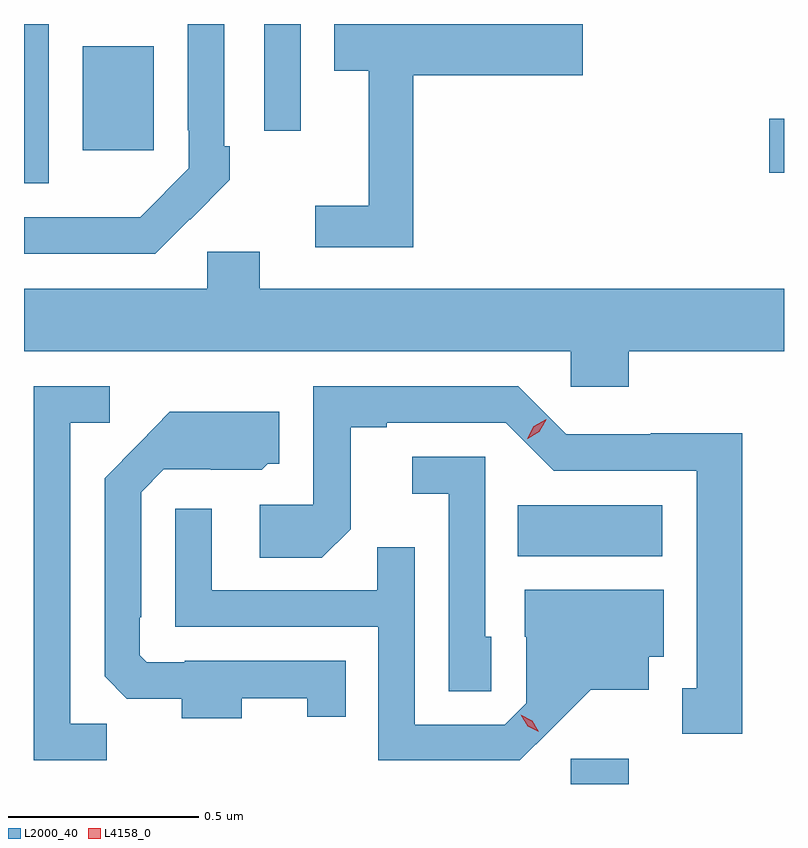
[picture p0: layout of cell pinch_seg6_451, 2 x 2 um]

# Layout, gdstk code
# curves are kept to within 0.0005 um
import gdstk
lib = gdstk.Library(unit=1e-6, precision=1e-09)
def R(c, l, rs):  # rectangles x0, y0, x1, y1
    for r in rs: c.add(gdstk.rectangle(r[:2], r[2:], *l))
def P(c, l, *ps):  # polygons
    for p in ps: c.add(gdstk.Polygon(p, *l))
L2000_40 = (2000, 40)
L4158_0 = (4158, 0)

pinch_seg6_451 = lib.new_cell('pinch_seg6_451')
R(pinch_seg6_451, L2000_40, [(755.112,922.221,755.264,922.288), (754.972,922.82,755.353,922.954), (753.673,923.802,753.738,924.221), (755.634,923.83,755.673,923.972), (753.827,923.889,754.015,924.163), (754.305,923.94,754.401,924.221)])
P(pinch_seg6_451, L2000_40, [(754.697,924.086),(755.143,924.086),(755.143,924.221),(754.49,924.221),(754.49,924.098),(754.58,924.098),(754.58,923.743),(754.44,923.743),(754.44,923.634),(754.697,923.634)],
  [(754.109,923.707),(754.11,923.706),(754.215,923.811),(754.215,923.899),(754.2,923.899),(754.2,924.221),(754.104,924.221),(754.104,923.941),(754.107,923.941),(754.107,923.841),(753.979,923.713),(753.875,923.713),(753.875,923.712),(753.673,923.712),(753.673,923.616),(754.018,923.616)],
  [(755.264,923.36),(755.673,923.36),(755.673,923.524),(754.294,923.524),(754.294,923.622),(754.155,923.622),(754.155,923.524),(753.673,923.524),(753.673,923.36),(755.112,923.36),(755.112,923.267),(755.264,923.267)],
  [(755.563,923.144),(755.322,923.144),(755.322,923.142),(755.1,923.142),(754.974,923.268),(754.434,923.268),(754.434,922.956),(754.293,922.956),(754.293,922.816),(754.457,922.816),(754.533,922.892),(754.533,923.16),(754.627,923.16),(754.627,923.172),(754.941,923.172),(755.067,923.046),(755.444,923.046),(755.444,922.473),(755.405,922.473),(755.405,922.353),(755.563,922.353)],
  [(753.891,922.379),(753.795,922.379),(753.795,923.172),(753.898,923.172),(753.898,923.268),(753.699,923.268),(753.699,922.284),(753.891,922.284)],
  [(754.246,922.447),(754.419,922.447),(754.419,922.398),(754.52,922.398),(754.52,922.545),(754.096,922.545),(754.096,922.542),(753.996,922.542),(753.978,922.56),(753.978,922.66),(753.981,922.66),(753.981,922.989),(754.041,923.049),(754.164,923.049),(754.164,923.048),(754.298,923.048),(754.314,923.064),(754.345,923.064),(754.345,923.2),(754.057,923.2),(753.885,923.026),(753.885,922.504),(753.944,922.445),(754.088,922.445),(754.088,922.394),(754.246,922.394)],
  [(754.902,922.608),(754.887,922.608),(754.887,923.082),(754.695,923.082),(754.695,922.985),(754.791,922.985),(754.791,922.465),(754.902,922.465)],
  [(755.062,922.367),(755.165,922.469),(755.317,922.469),(755.317,922.556),(755.356,922.556),(755.356,922.732),(754.991,922.732),(754.991,922.608),(754.995,922.608),(754.995,922.434),(754.938,922.377),(754.701,922.377),(754.701,922.844),(754.603,922.844),(754.603,922.731),(754.167,922.731),(754.167,922.945),(754.071,922.945),(754.071,922.635),(754.605,922.635),(754.605,922.284),(754.978,922.284)])
P(pinch_seg6_451, L4158_0, [(754.997,923.129),(754.997,923.13),(755.015,923.162),(755.047,923.181),(755.047,923.181),(755.047,923.18),(755.029,923.148),(754.998,923.129)],
  [(755.028,922.358),(754.998,922.373),(754.98,922.403),(754.98,922.403),(754.98,922.403),(755.011,922.388),(755.028,922.358),(755.028,922.358)])

lib.write_gds('pinch_seg6_451.gds')
